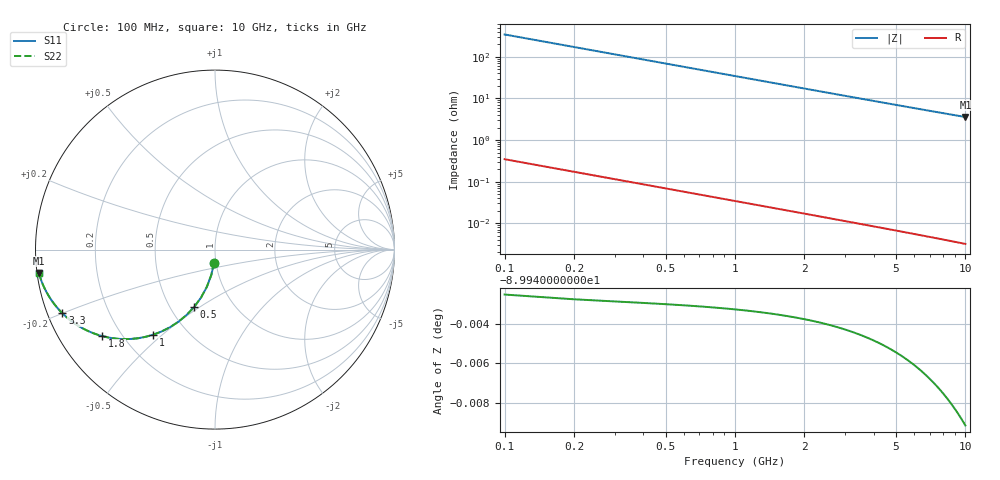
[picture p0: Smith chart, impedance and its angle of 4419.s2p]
# Hz S RI R 50.00
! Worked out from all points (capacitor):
!   100 points, 100 MHz to 10 GHz, reference 50 ohm
!   read as one part in shunt: C = 4.61 pF near 100 MHz
!   lowest |Z| = 3.58 ohm at 10 GHz (marker M1)
!   S11 on the Smith chart (normalised r, x): 100 MHz: 0.98, -0.14; 500 MHz: 0.66, -0.47; 1 GHz: 0.32, -0.47; 1.8 GHz: 0.13, -0.33; 3.3 GHz: 0.04, -0.20; 10 GHz: 0.01, -0.07
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1e8  -0.00527 -0.072  0.9947 -0.0721  0.9947 -0.0721  -0.00527 -0.072
2e8  -0.0207 -0.1417  0.9793 -0.1419  0.9793 -0.1419  -0.0207 -0.1417
3e8  -0.0452 -0.2072  0.9547 -0.2075  0.9547 -0.2075  -0.0452 -0.2072
4e8  -0.0776 -0.2669  0.9224 -0.2673  0.9224 -0.2673  -0.0776 -0.2669
5e8  -0.1161 -0.3196  0.8839 -0.3201  0.8839 -0.3201  -0.1161 -0.3196
6e8  -0.159 -0.3649  0.841 -0.3654  0.841 -0.3654  -0.159 -0.3649
7e8  -0.2045 -0.4025  0.7954 -0.4032  0.7954 -0.4032  -0.2045 -0.4025
8e8  -0.2513 -0.4329  0.7487 -0.4337  0.7487 -0.4337  -0.2513 -0.4329
1e9  -0.3439 -0.474  0.6561 -0.475  0.6561 -0.475  -0.3439 -0.474
1.3e9  -0.4694 -0.4979  0.5306 -0.4992  0.5306 -0.4992  -0.4694 -0.4979
1.5e9  -0.5406 -0.4971  0.4593 -0.4986  0.4593 -0.4986  -0.5406 -0.4971
1.8e9  -0.6287 -0.4818  0.3713 -0.4835  0.3713 -0.4835  -0.6287 -0.4818
2.1e9  -0.6972 -0.458  0.3028 -0.46  0.3028 -0.46  -0.6972 -0.458
2.5e9  -0.7652 -0.4222  0.2348 -0.4246  0.2348 -0.4246  -0.7652 -0.4222
2.9e9  -0.8141 -0.3871  0.1859 -0.3899  0.1859 -0.3899  -0.8141 -0.3871
3.3e9  -0.8499 -0.355  0.15 -0.3582  0.15 -0.3582  -0.8499 -0.355
3.4e9  -0.8574 -0.3476  0.1426 -0.3508  0.1426 -0.3508  -0.8574 -0.3476
4.2e9  -0.9015 -0.2954  0.0984 -0.2994  0.0984 -0.2994  -0.9015 -0.2954
5.1e9  -0.9309 -0.2506  0.069 -0.2555  0.069 -0.2555  -0.9309 -0.2506
6.7e9  -0.9587 -0.1951  0.0412 -0.2016  0.0412 -0.2016  -0.9587 -0.1951
8.4e9  -0.9733 -0.1564  0.0266 -0.1646  0.0266 -0.1646  -0.9733 -0.1564
1e10  -0.9811 -0.1307  0.0188 -0.1405  0.0188 -0.1405  -0.9811 -0.1307
